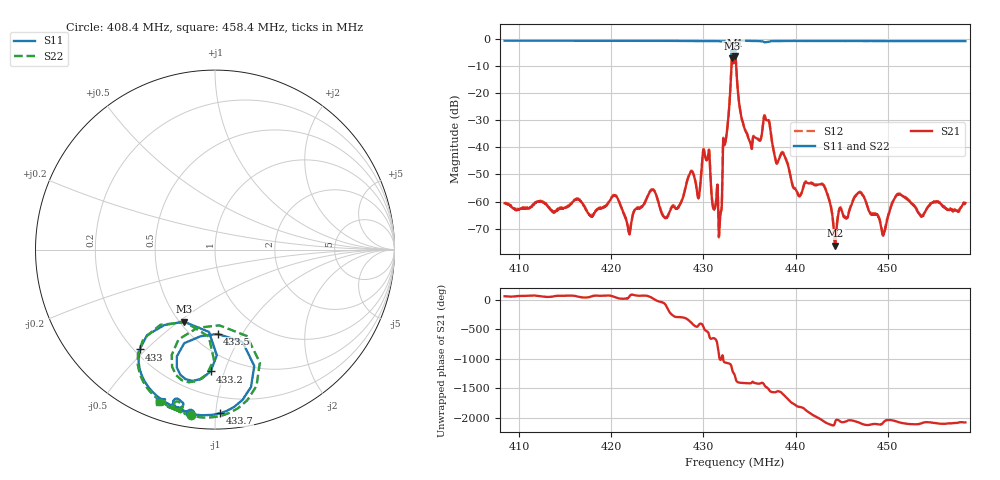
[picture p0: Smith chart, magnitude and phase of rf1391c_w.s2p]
!rf1391c,  9338,  untuned demo, wide,bn,7/10/07
# HZ S RI R 50
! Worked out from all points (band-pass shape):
!   1601 points, 408.4 MHz to 458.4 MHz, reference 50 ohm
!   highest |S21| = -6.25 dB at 433.5 MHz (marker M1); lowest = -76.3 dB at 444.3 MHz (marker M2)
!   |S21| within 3 dB of the highest: 433.0417 MHz to 433.5365 MHz (494.8 kHz wide, 0.114 % of centre)
!   lowest |S11| = -7.2 dB at 433.1 MHz (marker M3), VSWR 2.56, Z = 26.3 - j26.1 ohm
!   |S11| at or under -10 dB: nowhere
!   |S22| runs from -7.5 to -0.6 dB; largest |S21 - S12| = 0.012
!   S11 on the Smith chart (normalised r, x): 408.4 MHz: 0.07, -0.86; 433 MHz: 0.22, -0.48; 433.2 MHz: 0.36, -0.90; 433.5 MHz: 0.65, -0.79; 433.7 MHz: 0.10, -1.03; 458.4 MHz: 0.08, -0.69
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4.0842e8  -0.1379 -0.9088  0.000536 0.00077  0.000548 0.000798  -0.1351 -0.922
4.167637e8  -0.1713 -0.8991  0.000776 0.000589  0.000797 0.000623  -0.168 -0.9127
4.204513e8  -0.1866 -0.8936  0.00101 0.000782  0.00104 0.000807  -0.1837 -0.9074
4.2192e8  -0.1924 -0.8917  0.000198 0.000172  0.000212 0.000188  -0.1896 -0.9053
4.251075e8  -0.2069 -0.8853  0.000856 -0.000479  0.000867 -0.000496  -0.205 -0.8984
4.294513e8  -0.2332 -0.8718  0.000269 -0.00111  0.000289 -0.00115  -0.2318 -0.8843
4.301388e8  -0.2342 -0.8712  -0.00635 -0.00376  -0.00652 -0.00381  -0.2332 -0.8835
4.31795e8  -0.2722 -0.8533  0.000175 0.00044  0.000202 0.000462  -0.2715 -0.8658
4.329825e8  -0.4201 -0.5561  0.1873 -0.0883  0.1919 -0.095  -0.4296 -0.5814
4.330763e8  -0.1735 -0.4016  0.1027 -0.4024  0.0972 -0.4133  -0.1646 -0.4044
4.3317e8  -0.0245 -0.6789  -0.2715 -0.2909  -0.2784 -0.2936  -0.0459 -0.6954
4.3342e8  -0.0771 -0.4817  -0.4059 0.2507  -0.407 0.2583  -0.0986 -0.436
4.334513e8  0.0145 -0.47  -0.331 0.3571  -0.3313 0.3644  0.0242 -0.4219
4.3367e8  0.0302 -0.9112  0.0899 0.1127  0.0911 0.1155  0.0468 -0.9223
4.35045e8  -0.1993 -0.891  0.0113 0.00573  0.0116 0.00587  -0.1978 -0.9033
4.368262e8  -0.1949 -0.8404  0.0251 -0.0192  0.0257 -0.0199  -0.1966 -0.8519
4.402012e8  -0.233 -0.8771  0.00142 -0.000108  0.00145 -0.000121  -0.2331 -0.8884
4.417637e8  -0.2412 -0.8729  -0.00157 -0.00148  -0.00164 -0.00151  -0.2407 -0.8837
4.44295e8  -0.2545 -0.8682  -1.38e-05 0.000153  -2.28e-05 0.00015  -0.2553 -0.8783
4.468575e8  -0.2646 -0.864  0.000114 0.00149  0.000135 0.00151  -0.2656 -0.8736
4.501075e8  -0.2783 -0.8574  -0.00038 0.00046  -0.000379 0.000482  -0.2806 -0.8661
4.5842e8  -0.3102 -0.8441  5e-05 0.000942  7.45e-05 0.000962  -0.3141 -0.8508
